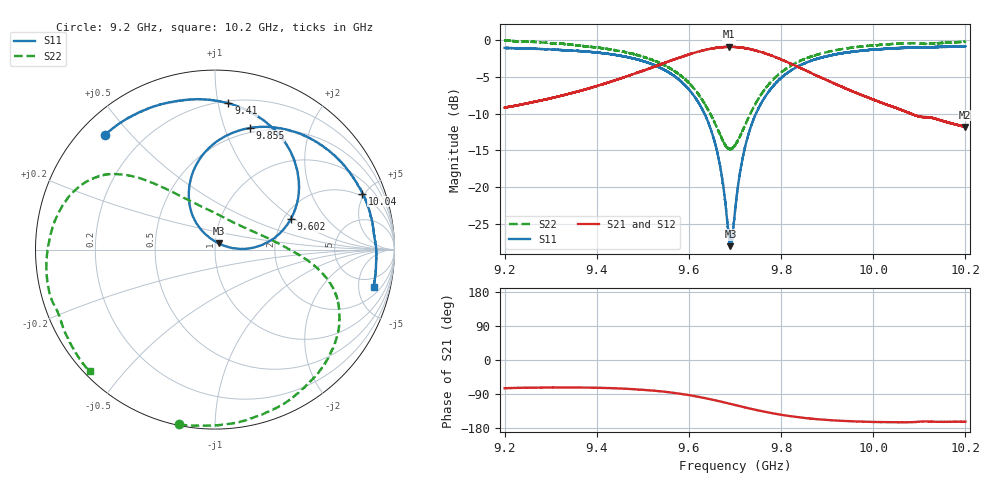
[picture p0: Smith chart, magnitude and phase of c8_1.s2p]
!Agilent Technologies,N5242A,MY51221714,A.09.90.19
!Agilent N5242A: A.09.90.19
!Date: Tuesday, March 26, 2024 16:00:28
!Correction: S11(Full 2 Port(1,2))
!S21(Full 2 Port(1,2))
!S12(Full 2 Port(1,2))
!S22(Full 2 Port(1,2))
!S2P File: Measurements: S11, S21, S12, S22:
# Hz S  dB  R 50
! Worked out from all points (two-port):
!   16001 points, 9.2 GHz to 10.2 GHz, reference 50 ohm
!   highest |S21| = -0.89 dB at 9.687 GHz (marker M1); lowest = -11.8 dB at 10.2 GHz (marker M2)
!   |S21| within 3 dB of the highest: 9.512173 GHz to 9.512198 GHz (25.49 kHz wide, 0.000268 % of centre); 9.512 GHz to 9.846 GHz (333.6 MHz wide, 3.45 % of centre)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
!   lowest |S11| = -28.0 dB at 9.69 GHz (marker M3), VSWR 1.08, Z = 51.9 + j3.58 ohm
!   |S11| at or under -10 dB: 9.633622 GHz to 9.633691 GHz (68.11 kHz wide, 0.000707 % of centre); 9.634 GHz to 9.745 GHz (111.5 MHz wide, 1.15 % of centre); 9.745395 GHz to 9.745448 GHz (53.07 kHz wide, 0.000545 % of centre)
!   |S22| runs from -14.9 to 0.0 dB; largest |S21 - S12| = 0.011
!   S11 on the Smith chart (normalised r, x): 9.2 GHz: 0.07, +0.43; 9.41 GHz: 0.22, +1.07; 9.602 GHz: 2.18, +0.94; 9.855 GHz: 0.45, +1.22; 10.04 GHz: 1.77, +4.81; 10.2 GHz: 3.10, -7.33
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9.2e9  -1.05 133.7  -9.17 -74.4  -9.15 -75.0  -0.05 -101.7
9.277312e9  -1.20 116.8  -8.21 -72.8  -8.21 -73.4  -0.29 -80.6
9.366688e9  -1.49 95.8  -6.85 -72.7  -6.83 -73.3  -0.77 -57.4
9.409625e9  -1.74 84.8  -6.05 -73.6  -6.05 -74.3  -1.07 -46.7
9.47025e9  -2.35 67.7  -4.82 -76.3  -4.81 -77.0  -1.75 -32.6
9.533375e9  -3.64 47.5  -3.42 -82.0  -3.40 -82.6  -2.99 -19.5
9.601562e9  -6.82 22.0  -1.91 -93.0  -1.90 -93.5  -5.89 -5.8
9.655812e9  -13.80 2.5  -1.08 -106.0  -1.07 -106.6  -11.22 16.3
9.671562e9  -18.54 2.7  -0.96 -110.4  -0.96 -110.9  -13.41 32.7
9.686688e9  -26.75 36.3  -0.89 -114.8  -0.90 -115.2  -14.78 58.1
9.690062e9  -28.01 60.1  -0.90 -115.8  -0.90 -116.3  -14.81 64.6
9.7e9  -23.33 112.5  -0.93 -118.7  -0.92 -119.2  -14.28 82.5
9.719812e9  -15.10 125.2  -1.07 -124.5  -1.04 -125.1  -11.83 108.4
9.748812e9  -9.54 115.9  -1.47 -132.6  -1.46 -133.2  -8.16 125.9
9.806312e9  -4.81 92.5  -2.79 -145.6  -2.80 -146.2  -4.10 138.8
9.855e9  -3.04 74.0  -4.15 -153.5  -4.17 -154.0  -2.46 146.7
9.866688e9  -2.78 70.0  -4.50 -154.9  -4.51 -155.4  -2.19 148.7
9.934375e9  -1.75 48.7  -6.41 -160.7  -6.41 -161.3  -1.18 161.4
1.003338e10  -1.15 22.9  -8.87 -163.9  -8.85 -164.5  -0.55 -177.2
1.0042e10  -1.13 20.8  -9.05 -164.1  -9.05 -164.6  -0.52 -175.2
1.019981e10  -0.84 -13.1  -11.80 -162.6  -11.79 -163.2  -0.23 -136.0
1.02e10  -0.84 -13.2  -11.80 -162.6  -11.81 -163.1  -0.23 -135.9
